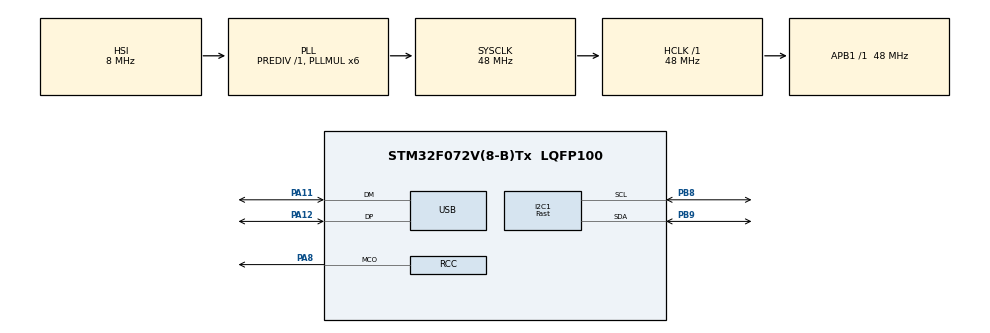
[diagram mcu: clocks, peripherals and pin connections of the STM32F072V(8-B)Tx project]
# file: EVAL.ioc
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I2C1.I2C_Speed_Mode=I2C_Fast
I2C1.Timing=0x0010020A
Mcu.Family=STM32F0
Mcu.Name=STM32F072V(8-B)Tx
Mcu.Package=LQFP100
NVIC.USB_IRQn=true\:0\:0\:false\:false\:true\:false\:true\:true
PA11.Mode=Device
PA11.Signal=USB_DM
PA12.Mode=Device
PA12.Signal=USB_DP
PA8.Mode=Clock-out
PA8.Signal=RCC_MCO
PB8.Mode=I2C
PB8.Signal=I2C1_SCL
PB9.Mode=I2C
PB9.Signal=I2C1_SDA
PC14-OSC32_IN.Mode=LSE-External-Clock-Source
PC14-OSC32_IN.Signal=RCC_OSC32_IN
PF0-OSC_IN.Mode=HSE-External-Clock-Source
PF0-OSC_IN.Signal=RCC_OSC_IN
ProjectManager.HeapSize=0x200
ProjectManager.StackSize=0x400
ProjectManager.TargetToolchain=STM32CubeIDE
RCC.AHBFreq_Value=48000000
RCC.APB1Freq_Value=48000000
RCC.APB1TimFreq_Value=48000000
RCC.HCLKFreq_Value=48000000
RCC.PLLMUL=RCC_PLL_MUL6
RCC.RCC_MCOSource=RCC_MCO1SOURCE_PLLCLK
RCC.SYSCLKFreq_VALUE=48000000
RCC.SYSCLKSource=RCC_SYSCLKSOURCE_PLLCLK
RTC.Hours=1
RTC.Minutes=30
RTC.Seconds=30
USB_DEVICE.CLASS_NAME_FS=CDC
USB_DEVICE.VirtualMode=Cdc
USB_DEVICE.VirtualModeFS=Cdc_FS
VP_RTC_VS_RTC_Activate.Mode=RTC_Enabled
VP_RTC_VS_RTC_Calendar.Mode=RTC_Calendar
VP_USB_DEVICE_VS_USB_DEVICE_CDC_FS.Mode=CDC_FS
board=STM32072B-EVAL

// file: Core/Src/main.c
/* USER CODE BEGIN Header */
/**
  ******************************************************************************
  * @file           : main.c
  * @brief          : Main program body
  ******************************************************************************
  * @attention
  *
  * Copyright (c) 2025 STMicroelectronics.
  * All rights reserved.
  *
  * This software is licensed under terms that can be found in the LICENSE file
  * in the root directory of this software component.
  * If no LICENSE file comes with this software, it is provided AS-IS.
  *
  ******************************************************************************
  */
/* USER CODE END Header */
#include "main.h"
#include "usb_device.h"

I2C_HandleTypeDef hi2c1;

RTC_HandleTypeDef hrtc;

/* USER CODE BEGIN PV */
RTC_TimeTypeDef sTime={0};
RTC_DateTypeDef sDate={0};

/* USER CODE END PV */

void SystemClock_Config(void);
static void MX_GPIO_Init(void);
static void MX_I2C1_Init(void);
static void MX_RTC_Init(void);
/* USER CODE BEGIN PFP */
int _write(int fd, char *str, int len) {
	CDC_Transmit_FS((uint8_t*)str, len); // USB를 통해 전송!
	return len;
}
/* USER CODE END PFP */

int main(void)
{

  /* MCU Configuration--------------------------------------------------------*/

  /* Reset of all peripherals, Initializes the Flash interface and the Systick. */
  HAL_Init();

  /* Configure the system clock */
  SystemClock_Config();

  /* Initialize all configured peripherals */
  MX_GPIO_Init();
  MX_I2C1_Init();
  MX_USB_DEVICE_Init();
  MX_RTC_Init();
  /* USER CODE BEGIN 2 */
  /* 17:30:30*/

  sTime.Hours = 16;
  sTime.Minutes = 30;
  sTime.Seconds = 30;
  sTime.TimeFormat = RTC_HOURFORMAT_24;

  /* 25-12-11*/
  sDate.Year = 0x25;
  sDate.Month = 0x12;
  sDate.Date = 0x11;

  HAL_RTC_SetTime(&hrtc,&sTime,RTC_FORMAT_BIN);
  HAL_RTC_SetDate(&hrtc,&sDate,RTC_FORMAT_BIN);
  HAL_RTC_WaitForSynchro(&hrtc);

  /* USER CODE END 2 */

  /* Infinite loop */
  /* USER CODE BEGIN WHILE */
  while (1)
  {

	  if(HAL_RTC_GetTime(&hrtc,&sTime,RTC_FORMAT_BIN)==HAL_OK)
	  	  {

	  	  }

	  if(HAL_RTC_GetDate(&hrtc,&sDate,RTC_FORMAT_BIN)==HAL_OK)
	  {

		  HAL_Delay(4000);
		  printf("Time %d %d %d\r\n",sTime.Hours,sTime.Minutes,sTime.Seconds);

	  }

	  else
	  {
		  Error_Handler();
	  }

    /* USER CODE END WHILE */

  }
}

void SystemClock_Config(void)
{
  RCC_OscInitTypeDef RCC_OscInitStruct = {0};
  RCC_ClkInitTypeDef RCC_ClkInitStruct = {0};
  RCC_PeriphCLKInitTypeDef PeriphClkInit = {0};

  /** Initializes the RCC Oscillators according to the specified parameters
  * in the RCC_OscInitTypeDef structure.
  */
  RCC_OscInitStruct.OscillatorType = RCC_OSCILLATORTYPE_HSI|RCC_OSCILLATORTYPE_HSI48
                              |RCC_OSCILLATORTYPE_LSI;
  RCC_OscInitStruct.HSIState = RCC_HSI_ON;
  RCC_OscInitStruct.HSI48State = RCC_HSI48_ON;
  RCC_OscInitStruct.HSICalibrationValue = RCC_HSICALIBRATION_DEFAULT;
  RCC_OscInitStruct.LSIState = RCC_LSI_ON;
  RCC_OscInitStruct.PLL.PLLState = RCC_PLL_ON;
  RCC_OscInitStruct.PLL.PLLSource = RCC_PLLSOURCE_HSI;
  RCC_OscInitStruct.PLL.PLLMUL = RCC_PLL_MUL6;
  RCC_OscInitStruct.PLL.PREDIV = RCC_PREDIV_DIV1;
  if (HAL_RCC_OscConfig(&RCC_OscInitStruct) != HAL_OK)
  {
    Error_Handler();
  }

  /** Initializes the CPU, AHB and APB buses clocks
  */
  RCC_ClkInitStruct.ClockType = RCC_CLOCKTYPE_HCLK|RCC_CLOCKTYPE_SYSCLK
                              |RCC_CLOCKTYPE_PCLK1;
  RCC_ClkInitStruct.SYSCLKSource = RCC_SYSCLKSOURCE_PLLCLK;
  RCC_ClkInitStruct.AHBCLKDivider = RCC_SYSCLK_DIV1;
  RCC_ClkInitStruct.APB1CLKDivider = RCC_HCLK_DIV1;

  if (HAL_RCC_ClockConfig(&RCC_ClkInitStruct, FLASH_LATENCY_1) != HAL_OK)
  {
    Error_Handler();
  }
  PeriphClkInit.PeriphClockSelection = RCC_PERIPHCLK_USB|RCC_PERIPHCLK_I2C1
                              |RCC_PERIPHCLK_RTC;
  PeriphClkInit.I2c1ClockSelection = RCC_I2C1CLKSOURCE_HSI;
  PeriphClkInit.RTCClockSelection = RCC_RTCCLKSOURCE_LSI;
  PeriphClkInit.UsbClockSelection = RCC_USBCLKSOURCE_HSI48;

  if (HAL_RCCEx_PeriphCLKConfig(&PeriphClkInit) != HAL_OK)
  {
    Error_Handler();
  }
  HAL_RCC_MCOConfig(RCC_MCO, RCC_MCO1SOURCE_PLLCLK, RCC_MCODIV_1);
}

static void MX_I2C1_Init(void)
{

  hi2c1.Instance = I2C1;
  hi2c1.Init.Timing = 0x0010020A;
  hi2c1.Init.OwnAddress1 = 0;
  hi2c1.Init.AddressingMode = I2C_ADDRESSINGMODE_7BIT;
  hi2c1.Init.DualAddressMode = I2C_DUALADDRESS_DISABLE;
  hi2c1.Init.OwnAddress2 = 0;
  hi2c1.Init.OwnAddress2Masks = I2C_OA2_NOMASK;
  hi2c1.Init.GeneralCallMode = I2C_GENERALCALL_DISABLE;
  hi2c1.Init.NoStretchMode = I2C_NOSTRETCH_DISABLE;
  if (HAL_I2C_Init(&hi2c1) != HAL_OK)
  {
    Error_Handler();
  }

  /** Configure Analogue filter
  */
  if (HAL_I2CEx_ConfigAnalogFilter(&hi2c1, I2C_ANALOGFILTER_ENABLE) != HAL_OK)
  {
    Error_Handler();
  }

  /** Configure Digital filter
  */
  if (HAL_I2CEx_ConfigDigitalFilter(&hi2c1, 0) != HAL_OK)
  {
    Error_Handler();
  }

}

static void MX_RTC_Init(void)
{

  RTC_TimeTypeDef sTime = {0};
  RTC_DateTypeDef sDate = {0};

  /** Initialize RTC Only
  */
  hrtc.Instance = RTC;
  hrtc.Init.HourFormat = RTC_HOURFORMAT_24;
  hrtc.Init.AsynchPrediv = 127;
  hrtc.Init.SynchPrediv = 255;
  hrtc.Init.OutPut = RTC_OUTPUT_DISABLE;
  hrtc.Init.OutPutPolarity = RTC_OUTPUT_POLARITY_HIGH;
  hrtc.Init.OutPutType = RTC_OUTPUT_TYPE_OPENDRAIN;
  if (HAL_RTC_Init(&hrtc) != HAL_OK)
  {
    Error_Handler();
  }

  /* USER CODE BEGIN Check_RTC_BKUP */
  if (HAL_RTCEx_BKUPRead(&hrtc, RTC_BKP_DR1)== 0x4567)
   {
 	  return ;
   }
  /* USER CODE END Check_RTC_BKUP */

  /** Initialize RTC and set the Time and Date
  */
  sTime.Hours = 0x1;
  sTime.Minutes = 0x30;
  sTime.Seconds = 0x30;
  sTime.DayLightSaving = RTC_DAYLIGHTSAVING_NONE;
  sTime.StoreOperation = RTC_STOREOPERATION_RESET;
  if (HAL_RTC_SetTime(&hrtc, &sTime, RTC_FORMAT_BCD) != HAL_OK)
  {
    Error_Handler();
  }
  sDate.WeekDay = RTC_WEEKDAY_MONDAY;
  sDate.Month = RTC_MONTH_JANUARY;
  sDate.Date = 0x1;
  sDate.Year = 0x0;

  if (HAL_RTC_SetDate(&hrtc, &sDate, RTC_FORMAT_BCD) != HAL_OK)
  {
    Error_Handler();
  }
  /* USER CODE BEGIN RTC_Init 2 */
  HAL_RTCEx_BKUPWrite(&hrtc, RTC_BKP_DR1, 0x4567);
  /* USER CODE END RTC_Init 2 */

}

static void MX_GPIO_Init(void)
{
  GPIO_InitTypeDef GPIO_InitStruct = {0};

  /* GPIO Ports Clock Enable */
  __HAL_RCC_GPIOC_CLK_ENABLE();
  __HAL_RCC_GPIOF_CLK_ENABLE();
  __HAL_RCC_GPIOA_CLK_ENABLE();
  __HAL_RCC_GPIOB_CLK_ENABLE();

  /*Configure GPIO pin : PA8 */
  GPIO_InitStruct.Pin = GPIO_PIN_8;
  GPIO_InitStruct.Mode = GPIO_MODE_AF_PP;
  GPIO_InitStruct.Pull = GPIO_NOPULL;
  GPIO_InitStruct.Speed = GPIO_SPEED_FREQ_LOW;
  GPIO_InitStruct.Alternate = GPIO_AF0_MCO;
  HAL_GPIO_Init(GPIOA, &GPIO_InitStruct);

}

void Error_Handler(void)
{
  __disable_irq();
  while (1)
  {
  }
}
